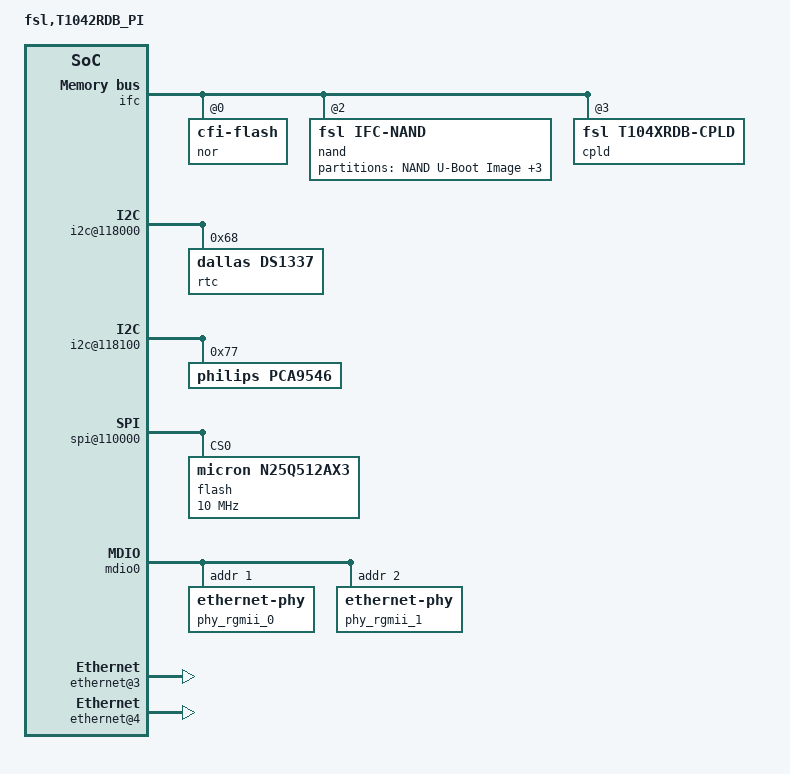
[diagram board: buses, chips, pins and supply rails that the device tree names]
/*
 * T1042RDB_PI Device Tree Source
 *
 * Copyright 2014 Freescale Semiconductor Inc.
 *
 * Redistribution and use in source and binary forms, with or without
 * modification, are permitted provided that the following conditions are met:
 *     * Redistributions of source code must retain the above copyright
 *	 notice, this list of conditions and the following disclaimer.
 *     * Redistributions in binary form must reproduce the above copyright
 *	 notice, this list of conditions and the following disclaimer in the
 *	 documentation and/or other materials provided with the distribution.
 *     * Neither the name of Freescale Semiconductor nor the
 *	 names of its contributors may be used to endorse or promote products
 *	 derived from this software without specific prior written permission.
 *
 *
 * ALTERNATIVELY, this software may be distributed under the terms of the
 * GNU General Public License ("GPL") as published by the Free Software
 * Foundation, either version 2 of that License or (at your option) any
 * later version.
 *
 * THIS SOFTWARE IS PROVIDED BY Freescale Semiconductor "AS IS" AND ANY
 * EXPRESS OR IMPLIED WARRANTIES, INCLUDING, BUT NOT LIMITED TO, THE IMPLIED
 * WARRANTIES OF MERCHANTABILITY AND FITNESS FOR A PARTICULAR PURPOSE ARE
 * DISCLAIMED. IN NO EVENT SHALL Freescale Semiconductor BE LIABLE FOR ANY
 * DIRECT, INDIRECT, INCIDENTAL, SPECIAL, EXEMPLARY, OR CONSEQUENTIAL DAMAGES
 * (INCLUDING, BUT NOT LIMITED TO, PROCUREMENT OF SUBSTITUTE GOODS OR SERVICES;
 * LOSS OF USE, DATA, OR PROFITS; OR BUSINESS INTERRUPTION) HOWEVER CAUSED AND
 * ON ANY THEORY OF LIABILITY, WHETHER IN CONTRACT, STRICT LIABILITY, OR TORT
 * (INCLUDING NEGLIGENCE OR OTHERWISE) ARISING IN ANY WAY OUT OF THE USE OF THIS
 * SOFTWARE, EVEN IF ADVISED OF THE POSSIBILITY OF SUCH DAMAGE.
 */

/include/ "fsl/t104xsi-pre.dtsi"

/ {
	model = "fsl,T1042RDB_PI";
	compatible = "fsl,T1042RDB_PI";
	#address-cells = <2>;
	#size-cells = <2>;
	interrupt-parent = <&mpic>;

	chosen {
	    name = "chosen";

	    dpaa-extended-args {
		fman1-extd-args {
		    cell-index = <0>;
		    compatible = "fsl,fman-extended-args";
		    fman1_rx3-extd-args {
			cell-index = <3>;
			compatible = "fsl,fman-port-1g-rx-extended-args";
			ar-tables-sizes = <10 10 10 10 10 10 20 2000>;
			ar-filters-sizes = <10 20 20>;
		    };
		};
	    };
	};


	aliases {
		phy_rgmii_0 = &phy_rgmii_0;
		phy_rgmii_1 = &phy_rgmii_1;
	};

	ifc: localbus@ffe124000 {
		reg = <0xf 0xfe124000 0 0x2000>;
		ranges = <0 0 0xf 0xe8000000 0x08000000
			  2 0 0xf 0xff800000 0x00010000
			  3 0 0xf 0xffdf0000 0x00008000>;

		nor@0,0 {
			#address-cells = <1>;
			#size-cells = <1>;
			compatible = "cfi-flash";
			reg = <0x0 0x0 0x8000000>;
			bank-width = <2>;
			device-width = <1>;
		};

		nand@2,0 {
			#address-cells = <1>;
			#size-cells = <1>;
			compatible = "fsl,ifc-nand";
			reg = <0x2 0x0 0x10000>;

			partition@0 {
				/* This location must not be altered  */
				/* 1MB for u-boot Bootloader Image */
				reg = <0x0 0x00100000>;
				label = "NAND U-Boot Image";
				read-only;
			};

			partition@100000 {
				/* 1MB for DTB Image */
				reg = <0x00100000 0x00100000>;
				label = "NAND DTB Image";
			};

			partition@200000 {
				/* 10MB for Linux Kernel Image */
				reg = <0x00200000 0x00A00000>;
				label = "NAND Linux Kernel Image";
			};

			partition@C00000 {
				/* 500MB for Root file System Image */
				reg = <0x00c00000 0x1F400000>;
				label = "NAND RFS Image";
			};
		};

		cpld@3,0 {
			#address-cells = <1>;
			#size-cells = <1>;
			compatible = "fsl,t104xrdb-cpld", "fsl,deepsleep-cpld";
			reg = <3 0 0x20>;
			ranges = <0 3 0 0x20>;
			bank-width = <1>;
			device-width = <1>;
		};
	};

	memory {
		device_type = "memory";
	};

	dcsr: dcsr@f00000000 {
		ranges = <0x00000000 0xf 0x00000000 0x01072000>;
	};

	bportals: bman-portals@ff4000000 {
		ranges = <0x0 0xf 0xf4000000 0x2000000>;
	};

	qportals: qman-portals@ff6000000 {
		ranges = <0x0 0xf 0xf6000000 0x2000000>;
	};

	soc: soc@ffe000000 {
		ranges = <0x00000000 0xf 0xfe000000 0x1000000>;
		reg = <0xf 0xfe000000 0 0x00001000>;

		i2c@118000 {
			rtc@68 {
				compatible = "dallas,ds1337";
				reg = <0x68>;
				interrupts = <0x2 0x1 0 0>;
			};
		};

		i2c@118100 {
			pca9546@77 {
				compatible = "philips,pca9546";
				reg = <0x77>;
				#address-cells = <1>;
				#size-cells = <0>;
			};
		};

		spi@110000 {
			flash@0 {
				#address-cells = <1>;
				#size-cells = <1>;
				compatible = "micron,n25q512ax3";
				reg = <0>;
				spi-max-frequency = <10000000>; /* input clock */
			};
		};

               qman: qman@318000 {
               };
               bman: bman@31a000 {
               };

		fman0: fman@400000 {
			sleep = <&rcpm 0x00000008>;

			enet0: ethernet@e0000 {
				status = "disabled";
				sleep = <&rcpm 0x80000000>;
			};

			enet1: ethernet@e2000 {
				status = "disabled";
				sleep = <&rcpm 0x40000000>;
			};

			enet2: ethernet@e4000 {
				status = "disabled";
				sleep = <&rcpm 0x20000000>;
			};

			enet3: ethernet@e6000 {
				phy-handle = <&phy_rgmii_0>;
				phy-connection-type = "rgmii";
				sleep = <&rcpm 0x10000000>;
			};

			enet4: ethernet@e8000 {
				phy-handle = <&phy_rgmii_1>;
				phy-connection-type = "rgmii";
				sleep = <&rcpm 0x08000000>;
			};

			mdio0: mdio@fc000 {
				phy_rgmii_0: ethernet-phy@01 {
					reg = <0x01>;
				};
				phy_rgmii_1: ethernet-phy@02 {
					reg = <0x02>;
				};
			};
		};
	};

	qe: qe@ffe140000 {
		ranges = <0x0 0xf 0xfe140000 0x40000>;
		reg = <0xf 0xfe140000 0 0x480>;
		brg-frequency = <0>;
		bus-frequency = <0>;
	};

	pci0: pcie@ffe240000 {
		reg = <0xf 0xfe240000 0 0x10000>;
		ranges = <0x02000000 0 0xe0000000 0xc 0x00000000 0x0 0x10000000
			  0x01000000 0 0x00000000 0xf 0xf8000000 0x0 0x00010000>;
		pcie@0 {
			ranges = <0x02000000 0 0xe0000000
				  0x02000000 0 0xe0000000
				  0 0x10000000

				  0x01000000 0 0x00000000
				  0x01000000 0 0x00000000
				  0 0x00010000>;
		};
	};

	pci1: pcie@ffe250000 {
		reg = <0xf 0xfe250000 0 0x10000>;
		ranges = <0x02000000 0x0 0xe0000000 0xc 0x10000000 0x0 0x10000000
			  0x01000000 0x0 0x00000000 0xf 0xf8010000 0x0 0x00010000>;
		pcie@0 {
			ranges = <0x02000000 0 0xe0000000
				  0x02000000 0 0xe0000000
				  0 0x10000000

				  0x01000000 0 0x00000000
				  0x01000000 0 0x00000000
				  0 0x00010000>;
		};
	};

	pci2: pcie@ffe260000 {
		reg = <0xf 0xfe260000 0 0x10000>;
		ranges = <0x02000000 0 0xe0000000 0xc 0x20000000 0 0x10000000
			  0x01000000 0 0x00000000 0xf 0xf8020000 0 0x00010000>;
		pcie@0 {
			ranges = <0x02000000 0 0xe0000000
				  0x02000000 0 0xe0000000
				  0 0x10000000

				  0x01000000 0 0x00000000
				  0x01000000 0 0x00000000
				  0 0x00010000>;
		};
	};

	pci3: pcie@ffe270000 {
		reg = <0xf 0xfe270000 0 0x10000>;
		ranges = <0x02000000 0 0xe0000000 0xc 0x30000000 0 0x10000000
			  0x01000000 0 0x00000000 0xf 0xf8030000 0 0x00010000>;
		pcie@0 {
			ranges = <0x02000000 0 0xe0000000
				  0x02000000 0 0xe0000000
				  0 0x10000000

				  0x01000000 0 0x00000000
				  0x01000000 0 0x00000000
				  0 0x00010000>;
		};
	};

	fsl,dpaa {
		compatible = "fsl,t1042-dpaa", "fsl,dpaa";
		ethernet@0 {
			status = "disabled";
		};
		ethernet@1 {
			status = "disabled";
		};
		ethernet@2 {
			status = "disabled";
		};
		ethernet@3 {
			compatible = "fsl,t1042-dpa-ethernet", "fsl,dpa-ethernet";
			fsl,fman-mac = <&enet3>;
		};
		ethernet@4 {
			compatible = "fsl,t1042-dpa-ethernet", "fsl,dpa-ethernet";
			fsl,fman-mac = <&enet4>;
		};
	};
};
/include/ "fsl/t1042si-post.dtsi"
/include/ "fsl/qoriq-dpaa-res3.dtsi"
